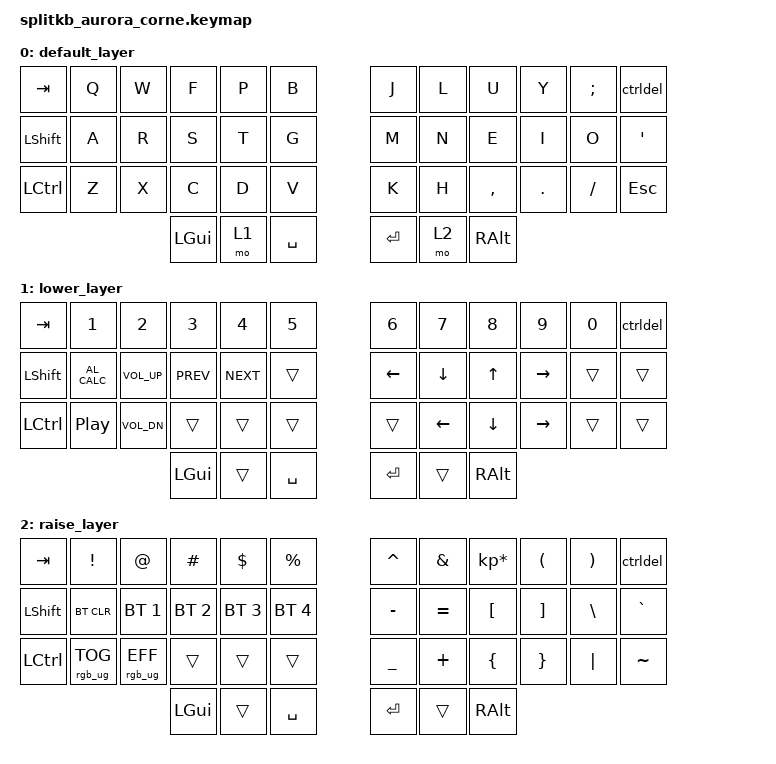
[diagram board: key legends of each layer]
/*
 * Copyright (c) 2020 The ZMK Contributors
 *
 * SPDX-License-Identifier: MIT
 */

#include <behaviors.dtsi>
#include <dt-bindings/zmk/keys.h>
#include <dt-bindings/zmk/bt.h>
#include <dt-bindings/zmk/rgb.h>

&led_strip {
    chain-length = <12>;
};

/ {
        behaviors {
                ctrldel: control_del {
                        compatible = "zmk,behavior-mod-morph";
                        #binding-cells = <0>;
                        bindings = <&kp BKSP>, <&kp DEL>;
                        mods = <MOD_LCTL>;
                };
        };      

        keymap {
                compatible = "zmk,keymap";

                default_layer {
// -----------------------------------------------------------------------------------------
// |  TAB |  Q  |  W  |  F  |  P  |  B  |   |  J  |  L   |  U  |  Y  |  ;  | BKSP |
// | SHFT |  A  |  R  |  S  |  T  |  G  |   |  M  |  N   |  E  |  I  |  O  |  '   |
// | CTRL |  Z  |  X  |  C  |  D  |  V  |   |  K  |  H   |  ,  |  .  |  /  | ESC  |
//                    | GUI | LWR | SPC |   | ENT | RSE  | ALT |
                        bindings = <
   &kp TAB   &kp Q &kp W &kp F &kp P &kp B   &kp J &kp L  &kp U     &kp Y   &kp SEMI &ctrldel
   &kp LSHFT &kp A &kp R &kp S &kp T &kp G   &kp M &kp N  &kp E     &kp I   &kp O    &kp SQT
   &kp LCTRL &kp Z &kp X &kp C &kp D &kp V   &kp K &kp H  &kp COMMA &kp DOT &kp FSLH &kp ESC
                  &kp LGUI &mo 1 &kp SPACE   &kp RET &mo 2 &kp RALT
                        >;
                };
                lower_layer {
// -----------------------------------------------------------------------------------------
// | TAB  |   1   |   2  |  3   | 4    |  5  |   |  6  |  7  |  8  |  9  |  0  | BKSP |
// | SHFT | CALC  | VOL- | PREV | NEXT |     |   | LFT | DWN |  UP | RGT |     |      |
// | CTRL | PAUSE | VOL+ |      |      |     |   |     | LFT | DWN | RGT |     |
//                       | GUI  |      | SPC |   | ENT |     | ALT |
                        bindings = <
   &kp TAB   &kp N1        &kp N2       &kp N3     &kp N4     &kp N5    &kp N6   &kp N7   &kp N8   &kp N9    &kp N0 &ctrldel
   &kp LSHFT &kp C_AL_CALC &kp C_VOL_UP &kp C_PREV &kp C_NEXT &trans    &kp LEFT &kp DOWN &kp UP   &kp RIGHT &trans &trans
   &kp LCTRL &kp C_PP      &kp C_VOL_DN &trans     &trans     &trans    &trans   &kp LEFT &kp DOWN &kp RIGHT &trans &trans
                                        &kp LGUI   &trans     &kp SPACE &kp RET  &trans   &kp RALT
                        >;
                };

                raise_layer {
// -----------------------------------------------------------------------------------------
// |  TAB |   !   |  @  |  #  |  $  |  %  |   |  ^  |  &  |  *  |  (  |  )  | BKSP |
// | SHFT | BTCLR | BT1 | BT2 | BT3 | BT4 |   |  -  |  =  |  [  |  ]  |  \  |  `   |
// | CTRL | RBG_TOG | RGB_EFF |     |     |     |   |  _  |  +  |  {  |  }  | "|" |  ~   |
//                      | GUI |     | SPC |   | ENT |     | ALT |
                        bindings = <
   &kp  TAB  &kp EXCL   &kp AT       &kp HASH     &kp DLLR     &kp PRCNT    &kp CARET &kp AMPS  &kp KP_MULTIPLY &kp LPAR &kp RPAR &ctrldel
   &kp LSHFT &bt BT_CLR &bt BT_SEL 1 &bt BT_SEL 2 &bt BT_SEL 3 &bt BT_SEL 4 &kp MINUS &kp EQUAL &kp LBKT        &kp RBKT &kp BSLH &kp GRAVE
   &kp LCTRL &rgb_ug RGB_TOG &rgb_ug RGB_EFF &trans       &trans       &trans       &kp UNDER &kp PLUS  &kp LBRC        &kp RBRC &kp PIPE &kp TILDE
                                     &kp LGUI     &trans       &kp SPACE    &kp RET   &trans    &kp RALT
                        >;
                };
        };
};
